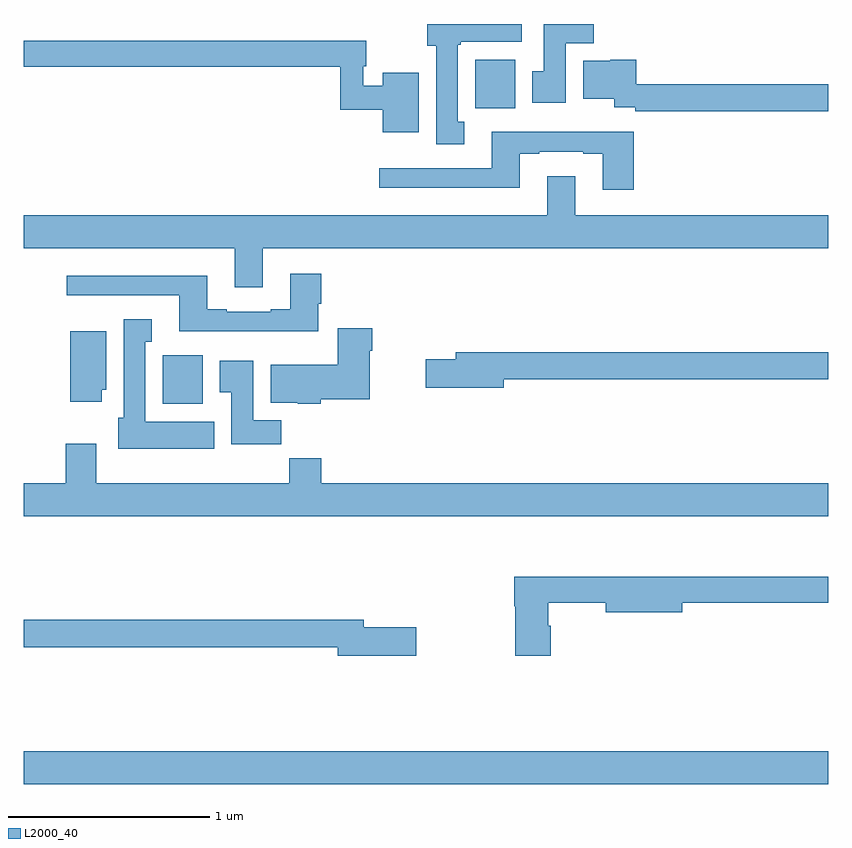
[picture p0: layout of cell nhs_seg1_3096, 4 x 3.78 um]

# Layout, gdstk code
import gdstk
lib = gdstk.Library(unit=1e-6, precision=1e-09)
def R(c, l, rs):  # rectangles x0, y0, x1, y1
    for r in rs: c.add(gdstk.rectangle(r[:2], r[2:], *l))
def P(c, l, *ps):  # polygons
    for p in ps: c.add(gdstk.Polygon(p, *l))
L2000_40 = (2000, 40)

nhs_seg1_3096 = lib.new_cell('nhs_seg1_3096')
R(nhs_seg1_3096, L2000_40, [(279,530.42,283,530.584), (279.692,532.31,279.889,532.552), (281.246,533.78,281.443,534.022)])
P(nhs_seg1_3096, L2000_40, [(281.191,533.714),(281.158,533.714),(281.158,534.097),(281.172,534.097),(281.172,534.11),(281.476,534.11),(281.476,534.199),(281.006,534.199),(281.006,534.09),(281.051,534.09),(281.051,533.601),(281.191,533.601)],
  [(281.695,534.104),(281.834,534.104),(281.834,534.199),(281.585,534.199),(281.585,533.964),(281.528,533.964),(281.528,533.808),(281.695,533.808)],
  [(280.963,533.956),(280.784,533.956),(280.784,533.893),(280.689,533.893),(280.689,533.988),(280.702,533.988),(280.702,534.115),(279,534.115),(279,533.986),(280.573,533.986),(280.573,533.772),(280.784,533.772),(280.784,533.66),(280.963,533.66)],
  [(283,533.9),(282.046,533.9),(282.046,534.022),(281.916,534.022),(281.916,534.016),(281.783,534.016),(281.783,533.828),(281.937,533.828),(281.937,533.784),(282.04,533.784),(282.04,533.764),(283,533.764)],
  [(282.032,533.662),(281.327,533.662),(281.327,533.481),(280.767,533.481),(280.767,533.384),(281.467,533.384),(281.467,533.553),(281.563,533.553),(281.563,533.565),(281.783,533.565),(281.783,533.553),(281.879,533.553),(281.879,533.376),(282.032,533.376)],
  [(280.189,533.084),(283,533.084),(283,533.248),(281.743,533.248),(281.743,533.443),(281.603,533.443),(281.603,533.248),(279,533.248),(279,533.084),(280.049,533.084),(280.049,532.89),(280.189,532.89)],
  [(280.465,532.809),(280.478,532.809),(280.478,532.957),(280.325,532.957),(280.325,532.78),(280.229,532.78),(280.229,532.767),(280.009,532.767),(280.009,532.78),(279.913,532.78),(279.913,532.948),(279.213,532.948),(279.213,532.851),(279.773,532.851),(279.773,532.67),(280.465,532.67)],
  [(279.946,532.222),(279.604,532.222),(279.604,532.619),(279.637,532.619),(279.637,532.732),(279.497,532.732),(279.497,532.242),(279.47,532.242),(279.47,532.088),(279.946,532.088)],
  [(280.476,532.334),(280.72,532.334),(280.72,532.574),(280.733,532.574),(280.733,532.687),(280.562,532.687),(280.562,532.504),(280.229,532.504),(280.229,532.316),(280.362,532.316),(280.362,532.31),(280.476,532.31)],
  [(279.388,532.38),(279.409,532.38),(279.409,532.672),(279.23,532.672),(279.23,532.32),(279.388,532.32)],
  [(281.386,532.432),(283,532.432),(283,532.568),(281.147,532.568),(281.147,532.532),(280.998,532.532),(280.998,532.39),(281.386,532.39)],
  [(280.28,532.228),(280.141,532.228),(280.141,532.525),(279.974,532.525),(279.974,532.369),(280.031,532.369),(280.031,532.11),(280.28,532.11)],
  [(283,531.916),(280.478,531.916),(280.478,532.04),(280.321,532.04),(280.321,531.916),(279.361,531.916),(279.361,532.111),(279.209,532.111),(279.209,531.916),(279,531.916),(279,531.752),(283,531.752)],
  [(281.621,531.207),(281.608,531.207),(281.608,531.322),(281.894,531.322),(281.894,531.275),(282.274,531.275),(282.274,531.322),(283,531.322),(283,531.451),(281.438,531.451),(281.438,531.305),(281.443,531.305),(281.443,531.057),(281.621,531.057)],
  [(280.951,531.2),(280.69,531.2),(280.69,531.236),(279,531.236),(279,531.1),(280.562,531.1),(280.562,531.058),(280.951,531.058)])

lib.write_gds('nhs_seg1_3096.gds')
